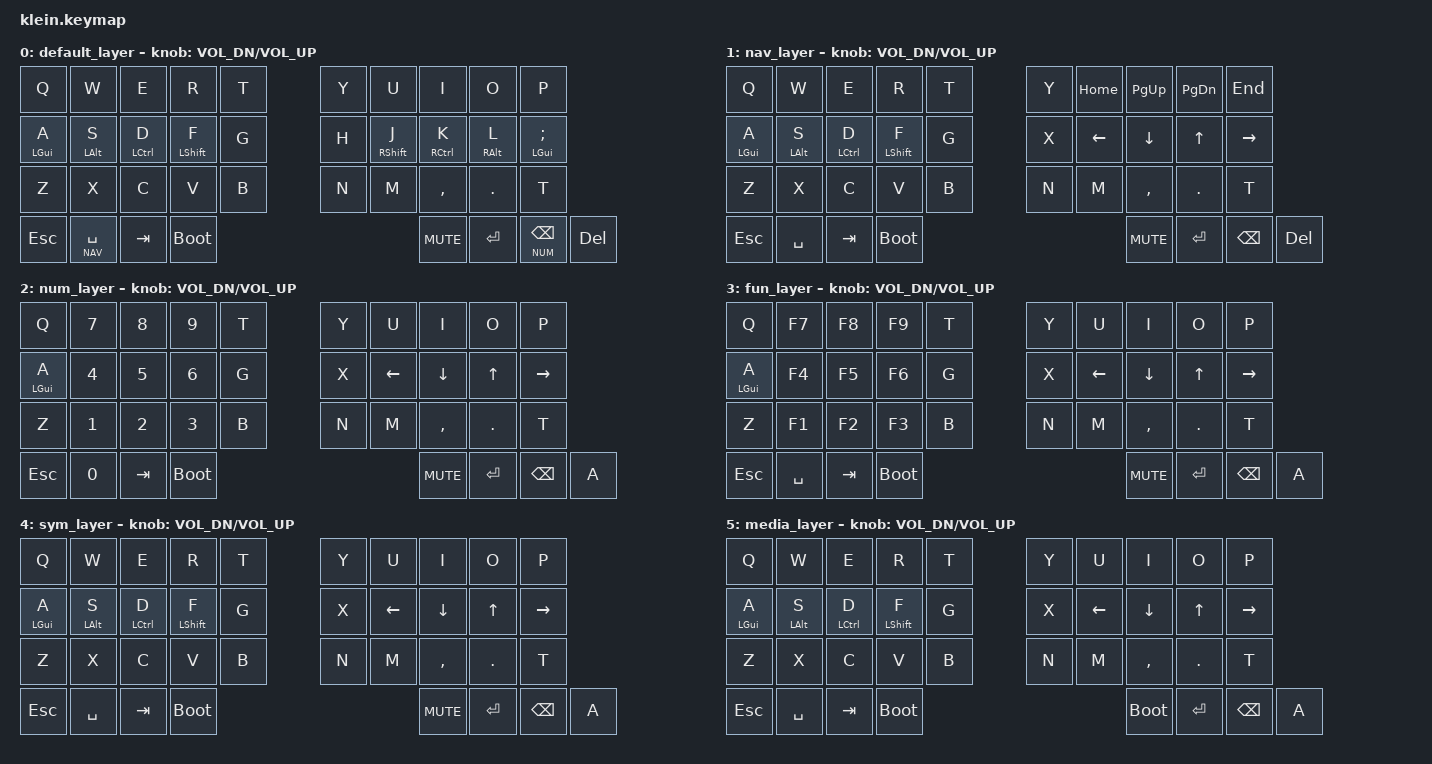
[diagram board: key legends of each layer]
/*
 * Copyright (c) 2020 The ZMK Contributors
 *
 * SPDX-License-Identifier: MIT
 */


#include <behaviors.dtsi>
#include <dt-bindings/zmk/keys.h>
#include <dt-bindings/zmk/bt.h>
#include <dt-bindings/zmk/outputs.h>

#define BASE 0
#define NAV  1
#define NUM  2
#define SYM  4
#define FUN  3
#define MEDIA  5

&mt {
  quick-tap-ms = <100>;
  global-quick-tap;
  flavor = "tap-preferred";
  tapping-term-ms = <180>;
};

/ {
	keymap {
		compatible = "zmk,keymap";

		default_layer {
// ------------------------------------------------------------------------------------------------------------
//
// |  Q  |  W  |  E   |  R   |  T   |             						      |  Y   |  U    |  I    |  O   |   P   |
// |  A  |  S  |  D   |  F   |  G   |             						      |  H   |  J    |  K    |  L   |   ;   |
// |  Z  |  X  |  C   |  V   |  B   |             						      |  N   |  M    |  ,    |  .   |   /   |
// 		| ESC  | SPC |  TAB | BOOTLOADER | 						| BOOTLOADER | RET | BKSP | DEL |
//
// ------------------------------------------------------------------------------------------------------------

			bindings = <
&kp Q     &kp W    &kp E     &kp R     &kp T                     &kp Y     	&kp U     &kp I     &kp O     &kp P
&mt LGUI A  &mt LALT S  &mt LCTRL D &mt LSHFT F &kp G           &kp H       &mt RSHFT J &mt RCTRL K &mt RALT L  &mt LGUI SEMI
&kp Z     &kp X    &kp C     &kp V     &kp B                     &kp N     	&kp M     &kp COMMA &kp DOT   &kp T
&kp ESC	  &lt NAV SPACE  &kp TAB &bootloader                           			&kp C_MUTE  &kp RET &lt NUM BKSP &kp DEL
			>;
		sensor-bindings = <&inc_dec_kp C_VOL_DN C_VOL_UP>;
		};

		nav_layer {

			bindings = <
&kp Q     &kp W    &kp E     &kp R     &kp T                     &kp Y     	&kp HOME     &kp PG_UP     &kp PG_DN     &kp END
&mt LGUI A  &mt LALT S  &mt LCTRL D &mt LSHFT F &kp G            &kp X		&kp LEFT    &kp DOWN    &kp UP	&kp RIGHT
&kp Z     &kp X    &kp C     &kp V     &kp B                     &kp N     	&kp M     &kp COMMA &kp DOT   &kp T
&kp ESC	  &kp SPACE  &kp TAB &bootloader                           			&kp C_MUTE  &kp RET &kp BKSP &kp DEL
			>;
		sensor-bindings = <&inc_dec_kp C_VOL_DN C_VOL_UP>;
		};

		num_layer {
			
			bindings = <
&kp Q     &kp N7   &kp N8   &kp N9     &kp T                     &kp Y     	&kp U     &kp I     &kp O     &kp P
&mt LGUI A  &kp N4   &kp N5   &kp N6 &kp G            &kp X		&kp LEFT    &kp DOWN    &kp UP	&kp RIGHT
&kp Z     &kp N1   &kp N2   &kp N3     &kp B                     &kp N     	&kp M     &kp COMMA &kp DOT   &kp T
&kp ESC	  &kp N0  &kp TAB &bootloader                           			&kp C_MUTE  &kp RET &kp BKSP &kp A
			>;
		sensor-bindings = <&inc_dec_kp C_VOL_DN C_VOL_UP>;
		};

		fun_layer {
			
			bindings = <
&kp Q     &kp F7   &kp F8   &kp F9     &kp T                     &kp Y     	&kp U     &kp I     &kp O     &kp P
&mt LGUI A  &kp F4   &kp F5   &kp F6 &kp G            &kp X		&kp LEFT    &kp DOWN    &kp UP	&kp RIGHT
&kp Z     &kp F1	&kp F2	&kp F3     &kp B                     &kp N     	&kp M     &kp COMMA &kp DOT   &kp T
&kp ESC	  &kp SPACE  &kp TAB &bootloader                           			&kp C_MUTE  &kp RET &kp BKSP &kp A
			>;
		sensor-bindings = <&inc_dec_kp C_VOL_DN C_VOL_UP>;
		};

		sym_layer {
			
			bindings = <
&kp Q     &kp W    &kp E     &kp R     &kp T                     &kp Y     	&kp U     &kp I     &kp O     &kp P
&mt LGUI A  &mt LALT S  &mt LCTRL D &mt LSHFT F &kp G            &kp X		&kp LEFT    &kp DOWN    &kp UP	&kp RIGHT
&kp Z     &kp X    &kp C     &kp V     &kp B                     &kp N     	&kp M     &kp COMMA &kp DOT   &kp T
&kp ESC	  &kp SPACE  &kp TAB &bootloader                           			&kp C_MUTE  &kp RET &kp BKSP &kp A
			>;
		sensor-bindings = <&inc_dec_kp C_VOL_DN C_VOL_UP>;
		};

		media_layer {
			
			bindings = <
&kp Q     &kp W    &kp E     &kp R     &kp T                     &kp Y     	&kp U     &kp I     &kp O     &kp P
&mt LGUI A  &mt LALT S  &mt LCTRL D &mt LSHFT F &kp G            &kp X		&kp LEFT    &kp DOWN    &kp UP	&kp RIGHT
&kp Z     &kp X    &kp C     &kp V     &kp B                     &kp N     	&kp M     &kp COMMA &kp DOT   &kp T
&kp ESC	  &kp SPACE  &kp TAB &bootloader                           			&bootloader  &kp RET &kp BKSP &kp A
			>;
		sensor-bindings = <&inc_dec_kp C_VOL_DN C_VOL_UP>;
		};
	};
};

